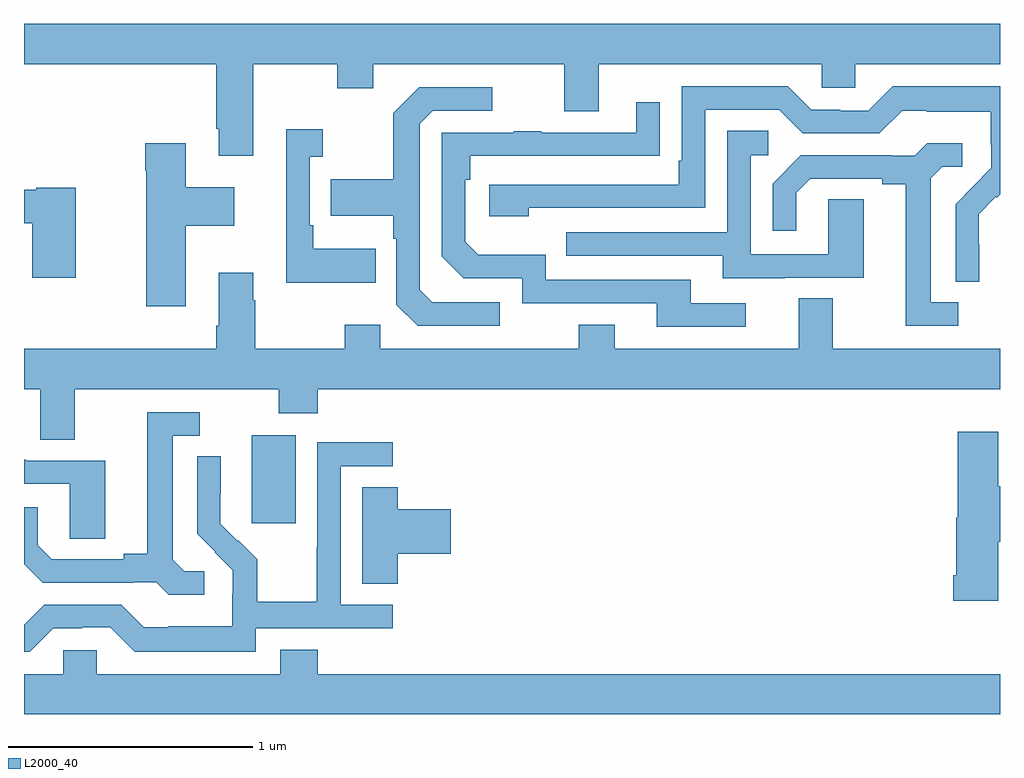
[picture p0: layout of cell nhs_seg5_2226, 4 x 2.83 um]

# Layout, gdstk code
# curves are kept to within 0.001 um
import gdstk
lib = gdstk.Library(unit=1e-6, precision=1e-09)
def R(c, l, rs):  # rectangles x0, y0, x1, y1
    for r in rs: c.add(gdstk.rectangle(r[:2], r[2:], *l))
def P(c, l, *ps):  # polygons
    for p in ps: c.add(gdstk.Polygon(p, *l))
L2000_40 = (2000, 40)

nhs_seg5_2226 = lib.new_cell('nhs_seg5_2226')
R(nhs_seg5_2226, L2000_40, [(241.934,848.217,242.113,848.578)])
P(nhs_seg5_2226, L2000_40, [(241.939,850.1),(242.284,850.1),(242.284,850.001),(242.431,850.001),(242.431,850.1),(243.215,850.1),(243.215,849.906),(243.355,849.906),(243.355,850.1),(244.269,850.1),(244.269,850.002),(244.407,850.002),(244.407,850.1),(245,850.1),(245,850.264),(241,850.264),(241,850.1),(241.787,850.1),(241.787,849.835),(241.799,849.835),(241.799,849.723),(241.939,849.723)],
  [(244.914,849.362),(244.913,849.485),(244.983,849.555),(244.986,849.552),(245,849.566),(245,850.009),(244.561,850.009),(244.461,849.909),(244.346,849.909),(244.346,849.912),(244.227,849.912),(244.131,850.008),(243.696,850.008),(243.696,849.703),(243.683,849.703),(243.683,849.606),(242.907,849.606),(242.907,849.476),(243.068,849.476),(243.068,849.51),(243.792,849.51),(243.792,849.912),(244.095,849.912),(244.191,849.816),(244.506,849.816),(244.599,849.909),(244.699,849.909),(244.699,849.905),(244.962,849.905),(244.962,849.771),(244.964,849.771),(244.964,849.674),(244.818,849.526),(244.818,849.208),(244.914,849.208)],
  [(242.95,849.123),(242.673,849.123),(242.622,849.174),(242.622,849.855),(242.676,849.909),(242.92,849.909),(242.92,850.005),(242.619,850.005),(242.514,849.899),(242.514,849.627),(242.257,849.627),(242.257,849.479),(242.514,849.479),(242.514,849.383),(242.526,849.383),(242.526,849.114),(242.613,849.027),(242.95,849.027)],
  [(243.958,849.12),(243.733,849.12),(243.733,849.216),(243.138,849.216),(243.138,849.319),(242.861,849.319),(242.808,849.372),(242.808,849.626),(242.828,849.626),(242.828,849.723),(243.605,849.724),(243.605,849.943),(243.509,849.943),(243.509,849.819),(243.119,849.819),(243.119,849.824),(243.007,849.824),(243.007,849.819),(242.712,849.819),(242.712,849.312),(242.802,849.222),(243.042,849.222),(243.042,849.12),(243.593,849.12),(243.593,849.024),(243.958,849.024)],
  [(242.441,849.343),(242.185,849.343),(242.185,849.439),(242.172,849.439),(242.172,849.719),(242.224,849.719),(242.224,849.832),(242.075,849.832),(242.075,849.203),(242.441,849.203)],
  [(244.117,849.225),(244.441,849.225),(244.441,849.545),(244.296,849.545),(244.296,849.321),(243.978,849.321),(243.978,849.726),(244.051,849.726),(244.051,849.827),(243.882,849.827),(243.882,849.411),(243.223,849.411),(243.223,849.315),(243.863,849.315),(243.863,849.221),(244.117,849.221)],
  [(241.663,849.437),(241.861,849.437),(241.861,849.595),(241.663,849.595),(241.663,849.775),(241.496,849.775),(241.496,849.662),(241.501,849.662),(241.501,849.108),(241.663,849.108)],
  [(244.828,849.123),(244.717,849.123),(244.717,849.631),(244.764,849.678),(244.846,849.678),(244.846,849.775),(244.702,849.775),(244.65,849.723),(244.556,849.723),(244.556,849.726),(244.184,849.726),(244.068,849.61),(244.068,849.417),(244.165,849.417),(244.165,849.573),(244.222,849.63),(244.517,849.63),(244.517,849.608),(244.613,849.608),(244.613,849.027),(244.828,849.027)],
  [(241.212,849.592),(241.05,849.592),(241.05,849.584),(241,849.584),(241,849.448),(241.034,849.448),(241.034,849.225),(241.212,849.225)],
  [(241.207,848.768),(242.044,848.768),(242.044,848.669),(242.204,848.669),(242.204,848.768),(245,848.768),(245,848.932),(244.315,848.932),(244.315,849.14),(244.175,849.14),(244.175,848.932),(243.421,848.932),(243.421,849.031),(243.274,849.031),(243.274,848.932),(242.46,848.932),(242.46,849.031),(242.314,849.031),(242.314,848.932),(241.947,848.932),(241.947,849.131),(241.939,849.131),(241.939,849.244),(241.799,849.244),(241.799,849.028),(241.787,849.028),(241.787,848.932),(241,848.932),(241,848.768),(241.067,848.768),(241.067,848.56),(241.207,848.56)],
  [(241.738,848.022),(241.656,848.022),(241.609,848.069),(241.609,848.577),(241.72,848.577),(241.72,848.673),(241.505,848.673),(241.505,848.093),(241.409,848.093),(241.409,848.07),(241.114,848.07),(241.057,848.127),(241.057,848.284),(241,848.284),(241,848.05),(241.076,847.974),(241.448,847.974),(241.448,847.977),(241.542,847.977),(241.594,847.925),(241.738,847.925)],
  [(244.993,848.141),(245,848.141),(245,848.369),(244.993,848.369),(244.993,848.593),(244.826,848.593),(244.826,848.241),(244.82,848.241),(244.82,848.005),(244.808,848.005),(244.808,847.901),(244.993,847.901)],
  [(241.95,847.788),(242.512,847.788),(242.512,847.884),(242.298,847.884),(242.298,848.451),(242.512,848.451),(242.512,848.55),(242.202,848.55),(242.202,848.12),(242.2,848.12),(242.2,847.897),(241.955,847.897),(241.955,848.071),(241.878,848.148),(241.875,848.145),(241.805,848.216),(241.806,848.492),(241.71,848.492),(241.71,848.174),(241.856,848.026),(241.856,847.929),(241.854,847.929),(241.854,847.795),(241.591,847.795),(241.591,847.791),(241.491,847.791),(241.398,847.884),(241.083,847.884),(241,847.801),(241,847.692),(241.023,847.692),(241.119,847.788),(241.238,847.788),(241.238,847.791),(241.353,847.791),(241.453,847.691),(241.95,847.691)],
  [(241.333,848.475),(241.009,848.475),(241.009,848.479),(241,848.479),(241,848.379),(241.188,848.379),(241.188,848.155),(241.333,848.155)],
  [(242.531,848.093),(242.749,848.093),(242.749,848.276),(242.531,848.276),(242.531,848.366),(242.387,848.366),(242.387,847.969),(242.531,847.969)],
  [(245,847.6),(242.204,847.6),(242.204,847.699),(242.051,847.699),(242.051,847.6),(241.299,847.6),(241.299,847.698),(241.161,847.698),(241.161,847.6),(241,847.6),(241,847.436),(245,847.436)])

lib.write_gds('nhs_seg5_2226.gds')
